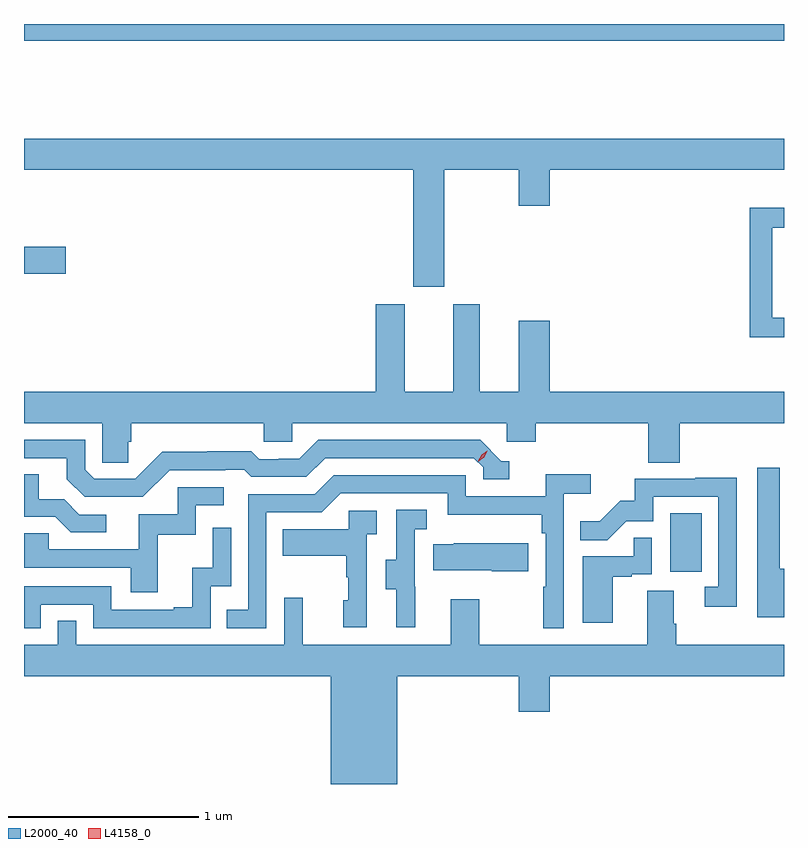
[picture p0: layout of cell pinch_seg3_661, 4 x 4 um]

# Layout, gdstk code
import gdstk
lib = gdstk.Library(unit=1e-6, precision=1e-09)
def R(c, l, rs):  # rectangles x0, y0, x1, y1
    for r in rs: c.add(gdstk.rectangle(r[:2], r[2:], *l))
def P(c, l, *ps):  # polygons
    for p in ps: c.add(gdstk.Polygon(p, *l))
L2000_40 = (2000, 40)
L4158_0 = (4158, 0)

pinch_seg3_661 = lib.new_cell('pinch_seg3_661')
R(pinch_seg3_661, L2000_40, [(1076.894,684.15,1077.058,684.457), (1073.492,685.718,1073.713,685.86), (1073.492,686.944,1077.492,687.032)])
P(pinch_seg3_661, L2000_40, [(1075.705,686.264),(1076.096,686.264),(1076.096,686.076),(1076.26,686.076),(1076.26,686.264),(1077.492,686.264),(1077.492,686.428),(1073.492,686.428),(1073.492,686.264),(1075.541,686.264),(1075.541,685.65),(1075.705,685.65)],
  [(1077.492,685.485),(1077.429,685.485),(1077.429,685.959),(1077.492,685.959),(1077.492,686.065),(1077.313,686.065),(1077.313,685.384),(1077.492,685.384)],
  [(1073.492,684.932),(1073.904,684.932),(1073.904,684.724),(1074.041,684.724),(1074.041,684.834),(1074.056,684.834),(1074.056,684.932),(1074.753,684.932),(1074.753,684.834),(1074.903,684.834),(1074.903,684.932),(1076.034,684.932),(1076.034,684.834),(1076.186,684.834),(1076.186,684.932),(1076.777,684.932),(1076.777,684.724),(1076.942,684.724),(1076.942,684.932),(1077.492,684.932),(1077.492,685.096),(1076.26,685.096),(1076.26,685.471),(1076.096,685.471),(1076.096,685.096),(1075.891,685.096),(1075.891,685.558),(1075.751,685.558),(1075.751,685.096),(1075.495,685.096),(1075.495,685.558),(1075.343,685.558),(1075.343,685.096),(1073.492,685.096)],
  [(1074.258,684.684),(1074.551,684.684),(1074.551,684.687),(1074.65,684.687),(1074.689,684.648),(1074.978,684.648),(1075.077,684.747),(1075.86,684.747),(1075.908,684.699),(1075.908,684.636),(1076.047,684.636),(1076.047,684.732),(1076.004,684.732),(1075.893,684.843),(1075.04,684.843),(1074.941,684.744),(1074.834,684.744),(1074.834,684.741),(1074.731,684.741),(1074.689,684.784),(1074.456,684.784),(1074.456,684.781),(1074.22,684.781),(1074.078,684.639),(1073.862,684.639),(1073.814,684.687),(1073.814,684.843),(1073.492,684.843),(1073.492,684.747),(1073.717,684.747),(1073.717,684.637),(1073.811,684.543),(1074.117,684.543)],
  [(1077.492,684.165),(1077.469,684.165),(1077.469,684.697),(1077.35,684.697),(1077.35,683.91),(1077.492,683.91)],
  [(1074.768,684.462),(1075.059,684.462),(1075.158,684.561),(1075.722,684.561),(1075.722,684.449),(1076.218,684.449),(1076.218,684.353),(1076.238,684.353),(1076.238,684.071),(1076.226,684.071),(1076.226,683.853),(1076.334,683.853),(1076.334,684.56),(1076.476,684.56),(1076.476,684.662),(1076.237,684.662),(1076.237,684.546),(1075.818,684.546),(1075.818,684.657),(1075.121,684.657),(1075.022,684.558),(1074.672,684.558),(1074.672,683.949),(1074.559,683.949),(1074.559,683.853),(1074.768,683.853)],
  [(1073.926,684.45),(1073.784,684.45),(1073.704,684.53),(1073.569,684.53),(1073.569,684.662),(1073.492,684.662),(1073.492,684.438),(1073.657,684.438),(1073.738,684.357),(1073.926,684.357)],
  [(1077.243,684.644),(1077.025,684.644),(1077.025,684.639),(1076.707,684.639),(1076.707,684.522),(1076.63,684.522),(1076.523,684.415),(1076.419,684.415),(1076.419,684.316),(1076.563,684.316),(1076.661,684.414),(1076.805,684.414),(1076.805,684.543),(1077.147,684.543),(1077.147,684.069),(1077.075,684.069),(1077.075,683.964),(1077.243,683.964)],
  [(1074.197,684.345),(1074.396,684.345),(1074.396,684.498),(1074.544,684.498),(1074.544,684.594),(1074.3,684.594),(1074.3,684.453),(1074.095,684.453),(1074.095,684.267),(1073.621,684.267),(1073.621,684.351),(1073.492,684.351),(1073.492,684.171),(1074.053,684.171),(1074.053,684.042),(1074.197,684.042)],
  [(1075.55,684.069),(1075.548,684.069),(1075.548,684.373),(1075.612,684.373),(1075.612,684.476),(1075.452,684.476),(1075.452,684.213),(1075.397,684.213),(1075.397,684.058),(1075.451,684.058),(1075.451,683.856),(1075.55,683.856)],
  [(1075.296,684.347),(1075.348,684.347),(1075.348,684.471),(1075.2,684.471),(1075.2,684.373),(1074.853,684.373),(1074.853,684.233),(1075.188,684.233),(1075.188,684.119),(1075.198,684.119),(1075.198,684),(1075.172,684),(1075.172,683.856),(1075.296,683.856)],
  [(1073.58,683.976),(1073.856,683.976),(1073.856,683.853),(1074.474,683.853),(1074.474,684.072),(1074.582,684.072),(1074.582,684.382),(1074.486,684.382),(1074.486,684.17),(1074.377,684.17),(1074.377,683.962),(1074.281,683.962),(1074.281,683.949),(1073.952,683.949),(1073.952,684.072),(1073.492,684.072),(1073.492,683.853),(1073.58,683.853)],
  [(1076.59,684.123),(1076.69,684.123),(1076.69,684.135),(1076.796,684.135),(1076.796,684.329),(1076.701,684.329),(1076.701,684.231),(1076.432,684.231),(1076.432,683.88),(1076.59,683.88)],
  [(1076.146,684.298),(1075.753,684.298),(1075.753,684.295),(1075.645,684.295),(1075.645,684.158),(1075.955,684.158),(1075.955,684.151),(1076.146,684.151)],
  [(1075.456,683.6),(1076.096,683.6),(1076.096,683.412),(1076.26,683.412),(1076.26,683.6),(1077.492,683.6),(1077.492,683.764),(1076.924,683.764),(1076.924,683.876),(1076.911,683.876),(1076.911,684.05),(1076.771,684.05),(1076.771,683.764),(1075.887,683.764),(1075.887,684.004),(1075.739,684.004),(1075.739,683.764),(1074.959,683.764),(1074.959,684.013),(1074.861,684.013),(1074.861,683.764),(1073.766,683.764),(1073.766,683.891),(1073.67,683.891),(1073.67,683.764),(1073.492,683.764),(1073.492,683.6),(1075.106,683.6),(1075.106,683.032),(1075.456,683.032)])
P(pinch_seg3_661, L4158_0, [(1075.884,684.732),(1075.884,684.733),(1075.9,684.766),(1075.93,684.786),(1075.93,684.786),(1075.93,684.785),(1075.915,684.753),(1075.885,684.732)])

lib.write_gds('pinch_seg3_661.gds')
